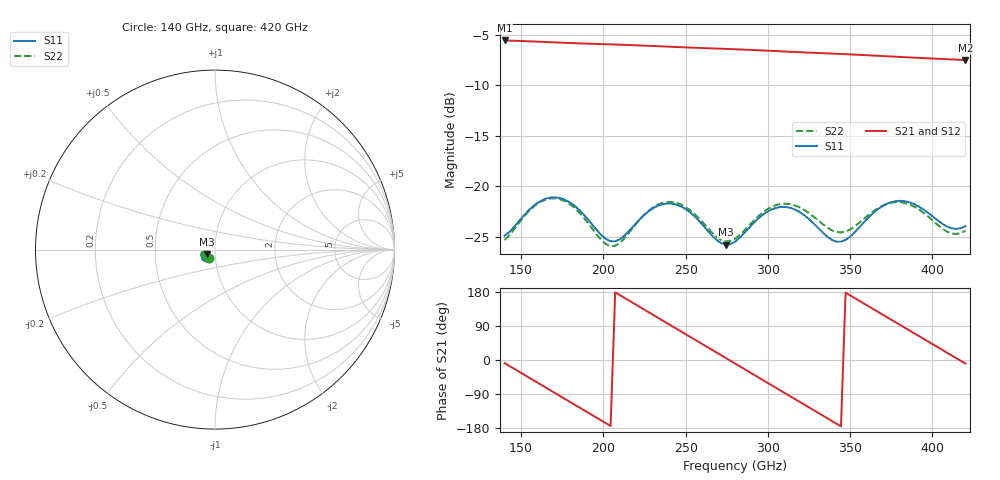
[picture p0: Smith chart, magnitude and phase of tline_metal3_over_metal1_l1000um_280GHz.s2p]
#  GHZ S DB R 50
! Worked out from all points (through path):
!   101 points, 140 GHz to 420 GHz, reference 50 ohm
!   highest |S21| = -5.54 dB at 140 GHz (marker M1); lowest = -7.5 dB at 420 GHz (marker M2)
!   group delay of S21, straight-line fit = 7.16 ps
!   lowest |S11| = -25.8 dB at 274.4 GHz (marker M3), VSWR 1.11, Z = 45.6 - j2.2 ohm
!   |S11| at or under -10 dB: start of sweep to end of sweep
!   |S22| runs from -25.9 to -21.2 dB; largest |S21 - S12| = 8.4e-14
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140  -24.90 -128.3  -5.54 -8.1  -5.54 -8.1  -25.33 -124.8
151.2  -22.99 -122.5  -5.60 -37.1  -5.60 -37.1  -23.12 -119.5
165.2  -21.23 -133.7  -5.69 -73.2  -5.69 -73.2  -21.31 -132.0
176.4  -21.32 -146.6  -5.77 -102.1  -5.77 -102.1  -21.47 -145.5
187.6  -22.72 -156.0  -5.84 -130.9  -5.84 -130.9  -23.02 -155.2
198.8  -24.84 -154.2  -5.90 -159.7  -5.90 -159.7  -25.34 -152.3
210  -25.27 -140.0  -5.96 171.4  -5.96 171.4  -25.62 -135.7
221.2  -23.44 -134.4  -6.03 142.4  -6.03 142.4  -23.47 -130.2
235.2  -21.81 -144.0  -6.12 106.3  -6.12 106.3  -21.69 -140.7
252  -22.50 -160.0  -6.24 63.0  -6.24 63.0  -22.29 -157.3
274.4  -25.80 -152.1  -6.38 5.3  -6.38 5.3  -25.47 -150.7
280  -25.50 -144.5  -6.41 -9.2  -6.41 -9.2  -25.21 -143.6
291.2  -23.67 -139.3  -6.49 -38.1  -6.49 -38.1  -23.44 -138.3
305.2  -22.13 -148.0  -6.60 -74.2  -6.60 -74.2  -21.86 -146.7
316.4  -22.30 -157.9  -6.68 -103.0  -6.68 -103.0  -21.90 -156.4
327.6  -23.66 -163.6  -6.76 -131.8  -6.76 -131.8  -23.00 -162.4
338.8  -25.31 -157.6  -6.84 -160.6  -6.84 -160.6  -24.36 -159.1
350  -24.99 -143.8  -6.92 170.5  -6.92 170.5  -24.28 -149.1
375.2  -21.56 -149.3  -7.13 105.7  -7.13 105.7  -21.63 -154.6
394.8  -22.33 -164.0  -7.29 55.4  -7.29 55.4  -22.66 -168.4
408.8  -23.99 -161.8  -7.40 19.4  -7.40 19.4  -24.50 -164.9
420  -23.96 -152.2  -7.49 -9.3  -7.49 -9.3  -24.42 -153.7
